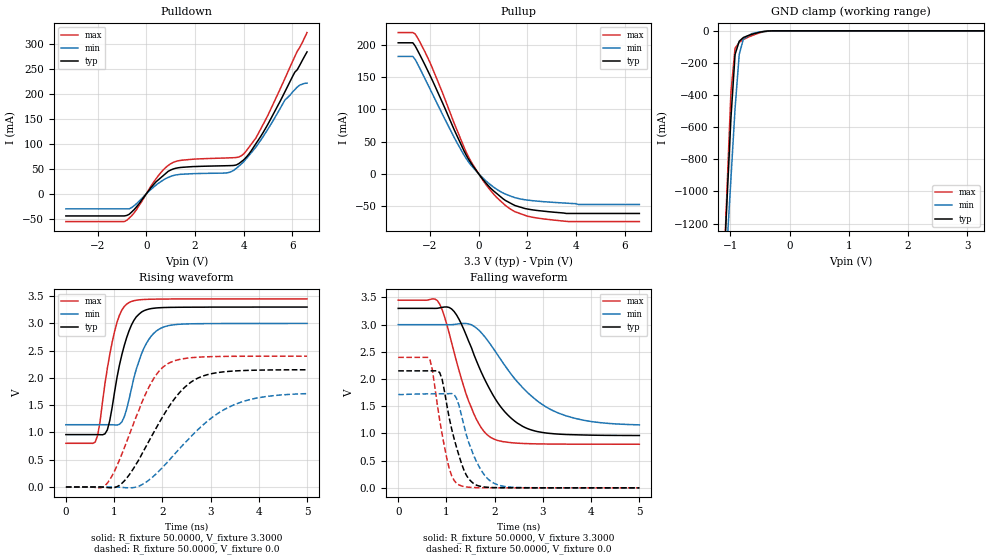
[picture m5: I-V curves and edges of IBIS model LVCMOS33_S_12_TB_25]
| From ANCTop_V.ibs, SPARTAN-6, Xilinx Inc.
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|   Model LVCMOS33_S_12_TB_25
[Model]  LVCMOS33_S_12_TB_25
Model_type I/O
Polarity   Non-Inverting
Enable   Active-Low
Vinl =   0.8000V
Vinh =   2.0000V
Vmeas =  1.6500V
Cref =   0.0F
Rref =   1.0000M
Vref =   0.0V
C_comp   5.71pF   5.63pF   6.21pF
|C_comp  6.33pF   6.15pF   6.69pF
[Temperature Range]   25.0000   85.0000   0.0
[Voltage Range]   3.3000V   3.0000V   3.4500V
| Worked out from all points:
|   slope of the pulldown table from 0 to 0.495 V, typ, clamps not added: 17.6 ohm
|   slope of the pullup table from 0 to 0.495 V, typ, clamps not added: 22 ohm
|   GND clamp passes 1 mA (typ) near -0.36 V on its own axis
|   rising waveform, R_fixture 50.0000, V_fixture 3.3000: 20-80 % time 344ps typ, 383ps min, 303ps max; typ from 0.961 V to 3.3 V
|   rising waveform, R_fixture 50.0000, V_fixture 0.0: 20-80 % time 882ps typ, 1.2ns min, 672ps max; typ from 0 V to 2.15 V
|   falling waveform, R_fixture 50.0000, V_fixture 3.3000: 20-80 % time 781ps typ, 1.08ns min, 550ps max; typ from 3.3 V to 0.962 V
|   falling waveform, R_fixture 50.0000, V_fixture 0.0: 20-80 % time 350ps typ, 406ps min, 275ps max; typ from 2.15 V to 0 V
[Pulldown]
|Voltage   I(typ)   I(min)   I(max)
-3.3V     -44.2mA    -29.95mA   -55.45mA
-900mV    -44.2mA    -29.95mA   -55.45mA
-600mV    -36.39mA   -27.52mA   -43.73mA
400mV     24.05mA    17.62mA    30.17mA
1V        47.66mA    35.03mA    60.24mA
1.5V      53.22mA    39.37mA    67.6mA
3.4V      56.47mA    42.96mA    72.07mA
4V        68.03mA    64.17mA    79.9mA
4.5V      100.3mA    93.69mA    111.8mA
5.7V      205.1mA    188.4mA    231.8mA
6.3V      257.4mA    217.8mA    293.1mA
6.6V      284.2mA    221.6mA    322.9mA
[Pullup]
|Voltage   I(typ)   I(min)   I(max)
-3.3V     203.9mA    182.6mA    219.8mA
-2.7V     203.9mA    182.6mA    219.8mA
-2.6V     198.7mA    177.8mA    217.5mA
-2V       153.5mA    132.4mA    173.5mA
-1V       68.3mA     56.21mA    78.24mA
-500mV    28.31mA    23.11mA    32.77mA
300mV     -14.41mA   -11.18mA   -16.8mA
1.1V      -41.66mA   -31.75mA   -49.41mA
2V        -54.98mA   -41.09mA   -66.11mA
2.8V      -58.91mA   -43.94mA   -71.05mA
3.7V      -61.94mA   -46.13mA   -74.56mA
6.6V      -61.94mA   -48mA      -74.56mA
[GND_clamp]
|Voltage   I(typ)   I(min)   I(max)
-3.3V     -18.64A    -15.53A    -21.83A
-1.13V    -1.631A    -1.8A      -1.668A
-1.06V    -1.087A    -1.36A     -1.023A
-990mV    -544.3mA   -921.6mA   -382.9mA
-920mV    -146.9mA   -482.6mA   -108.3mA
-850mV    -64.76mA   -146.8mA   -71.34mA
-780mV    -41.68mA   -51.26mA   -54.55mA
-640mV    -21.93mA   -17.51mA   -30.76mA
-430mV    -3.443mA   -4.246mA   -5.683mA
-290mV    -154.6uA   -176.3uA   -414.5uA
3.28V     34.7nA     269.5nA    30.6nA
[POWER_clamp]
|Voltage   I(typ)   I(min)   I(max)
-3.28V    0A         0A         0A
-3.24V    0A         0A         0A
-3.2V     0A         0A         0A
0V        0A         0A         0A
[Ramp]
| variable   typ   min   max
dV/dt_r  1.2894/0.8816n   1.0272/1.2006n   1.4388/0.6713n
dV/dt_f  1.4026/0.7809n   1.1052/1.0788n   1.5888/0.5493n
R_load = 50.0000
[Rising Waveform]
R_fixture= 50.0000
V_fixture= 3.3000
V_fixture_min= 3.0000
V_fixture_max= 3.4500
|time   V(typ)   V(min)   V(max)
0s        960.9mV    1.142V     801.6mV
610ps     960.8mV    1.142V     826.2mV
710ps     959.5mV    1.142V     1.209V
860ps     1.048V     1.142V     2.178V
1.06ns    2.009V     1.136V     3.018V
1.21ns    2.591V     1.285V     3.309V
1.31ns    2.864V     1.608V     3.381V
1.62ns    3.232V     2.548V     3.438V
2.02ns    3.29V      2.931V     3.446V
5ns       3.299V     2.999V     3.449V
[Rising Waveform]
R_fixture= 50.0000
V_fixture= 0.0
|time   V(typ)   V(min)   V(max)
0s        4.698uV    760.4nV    768.4nV
860ps     -10.06mV   -36.79uV   71.63mV
1.06ns    5.134mV    -485uV     390.6mV
1.31ns    219mV      -15.07mV   945.3mV
1.77ns    918.2mV    161.1mV    1.911V
2.12ns    1.45V      469.7mV    2.263V
2.63ns    1.944V     958.9mV    2.373V
3.38ns    2.12V      1.464V     2.395V
3.99ns    2.143V     1.636V     2.398V
5ns       2.149V     1.712V     2.398V
[Falling Waveform]
R_fixture= 50.0000
V_fixture= 3.3000
V_fixture_min= 3.0000
V_fixture_max= 3.4500
|time   V(typ)   V(min)   V(max)
0s        3.299V     3V         3.45V
810ps     3.301V     3V         3.444V
960ps     3.325V     3V         3.147V
1.21ns    3.178V     3.01V      2.32V
1.57ns    2.45V      2.971V     1.356V
1.92ns    1.777V     2.628V     926.3mV
2.47ns    1.19V      1.948V     821.6mV
3.13ns    1.002V     1.455V     805.5mV
3.89ns    971mV      1.236V     802.6mV
5ns       962.4mV    1.158V     802mV
[Falling Waveform]
R_fixture= 50.0000
V_fixture= 0.0
|time   V(typ)   V(min)   V(max)
0s        2.151V     1.718V     2.399V
660ps     2.151V     1.728V     2.35V
810ps     2.152V     1.729V     1.533V
910ps     1.997V     1.729V     989mV
1.06ns    1.276V     1.732V     347.8mV
1.26ns    593.4mV    1.518V     54.45mV
1.41ns    237mV      983.3mV    16.02mV
1.62ns    50.97mV    488.8mV    4.138mV
2.02ns    4.296mV    70.16mV    932.3uV
5ns       82.49uV    145.8uV    47.9uV
